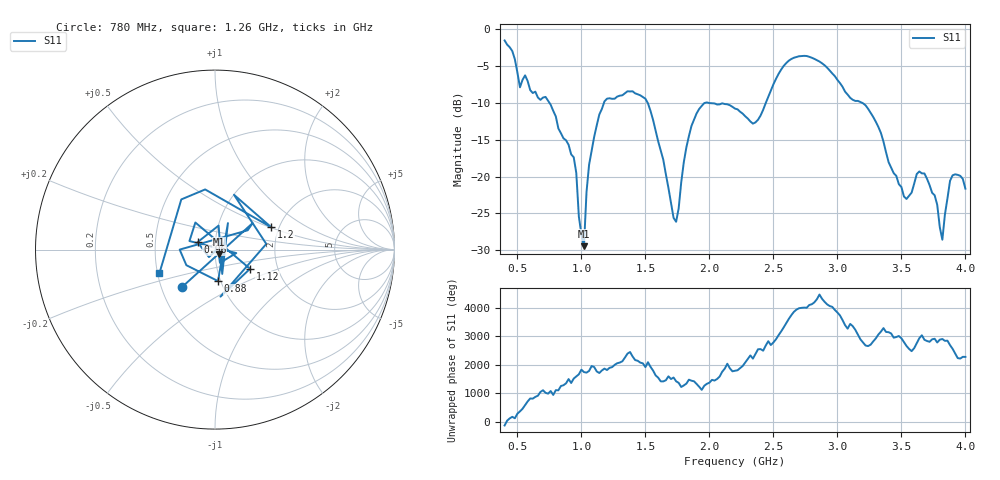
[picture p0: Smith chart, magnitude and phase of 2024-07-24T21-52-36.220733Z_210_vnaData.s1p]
!Created with skrf (http://scikit-rf.org).
# Hz S RI R 50.0
!freq ReS11 ImS11
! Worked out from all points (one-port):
!   181 points, 400 MHz to 4 GHz, reference 50 ohm
!   lowest |S11| = -29.4 dB at 1.02 GHz (marker M1), VSWR 1.07, Z = 52.1 - j2.74 ohm
!   |S11| at or under -10 dB: 1.518 GHz to 1.967 GHz (449.5 MHz wide, 25.8 % of centre); 1.993 GHz to 2.441 GHz (448.2 MHz wide, 20.2 % of centre); 3.193 GHz to end of sweep (the widest 3 of 4)
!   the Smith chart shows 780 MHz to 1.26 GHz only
!   S11 on the Smith chart (normalised r, x): 780 MHz: 0.64, -0.29; 880 MHz: 0.97, -0.35; 960 MHz: 0.82, +0.07; 1.12 GHz: 1.44, -0.32; 1.2 GHz: 1.82, +0.51; 1.26 GHz: 0.51, -0.15
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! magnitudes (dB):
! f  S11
! 400 MHz  -1.5
! 520 MHz  -7.9
! 780 MHz  -11.1
! 860 MHz  -14.8
! 880 MHz  -15.1
! 960 MHz  -19.5
! 980 MHz  -25.4
! 1.02 GHz  -29.4
! 1.06 GHz  -18.4
! 1.12 GHz  -13.0
! 1.2 GHz  -9.4
! 1.26 GHz  -9.4
! 1.3 GHz  -9.0
! 1.52 GHz  -10.1
! 1.72 GHz  -25.6
! 1.76 GHz  -24.3
! 1.82 GHz  -16.0
! 1.9 GHz  -11.4
! 2.2 GHz  -10.8
! 2.36 GHz  -12.6
! 2.66 GHz  -3.9
! 3.1 GHz  -9.3
! 3.28 GHz  -11.9
! 3.56 GHz  -22.6
! 3.68 GHz  -19.6
! 3.82 GHz  -28.6
! 3.88 GHz  -20.6
! 4 GHz  -21.6
